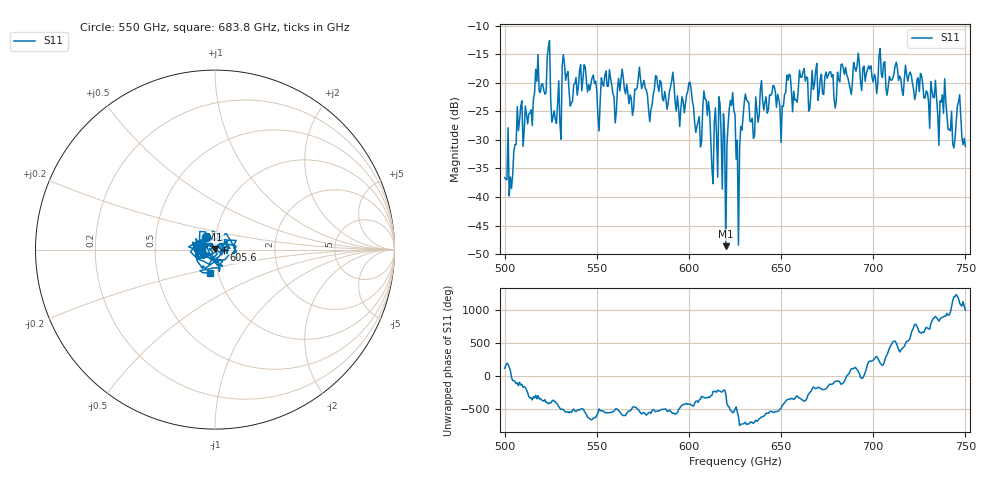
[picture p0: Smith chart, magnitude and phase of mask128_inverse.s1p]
!Created with skrf (http://scikit-rf.org).
# GHz S MA R 50.0
!freq magS11 angS11
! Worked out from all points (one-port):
!   401 points, 500 GHz to 750 GHz, reference 50 ohm
!   lowest |S11| = -48.6 dB at 620 GHz (marker M1), VSWR 1.01, Z = 50 + j0.371 ohm
!   |S11| at or under -10 dB: start of sweep to end of sweep
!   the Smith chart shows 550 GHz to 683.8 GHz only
!   S11 on the Smith chart (normalised r, x): 550 GHz: 0.90, +0.13; 605.6 GHz: 1.11, -0.01; 683.8 GHz: 0.91, -0.24
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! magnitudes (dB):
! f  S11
! 500 GHz  -36.6
! 516.9 GHz  -17.7
! 523.8 GHz  -13.7
! 526.9 GHz  -24.9
! 531.2 GHz  -17.0
! 542.5 GHz  -19.3
! 550 GHz  -21.3
! 562.5 GHz  -21.4
! 593.8 GHz  -22.3
! 600 GHz  -20.0
! 605.6 GHz  -25.9
! 609.4 GHz  -23.0
! 612.5 GHz  -35.1
! 615.6 GHz  -36.5
! 620 GHz  -48.6
! 622.5 GHz  -23.1
! 625 GHz  -25.6
! 626.9 GHz  -48.4
! 631.2 GHz  -23.0
! 634.4 GHz  -26.2
! 656.2 GHz  -25.1
! 683.8 GHz  -17.4
! 687.5 GHz  -21.1
! 718.8 GHz  -19.7
! 738.1 GHz  -25.3
! 743.1 GHz  -30.7
! 746.2 GHz  -23.4
! 750 GHz  -31.1
